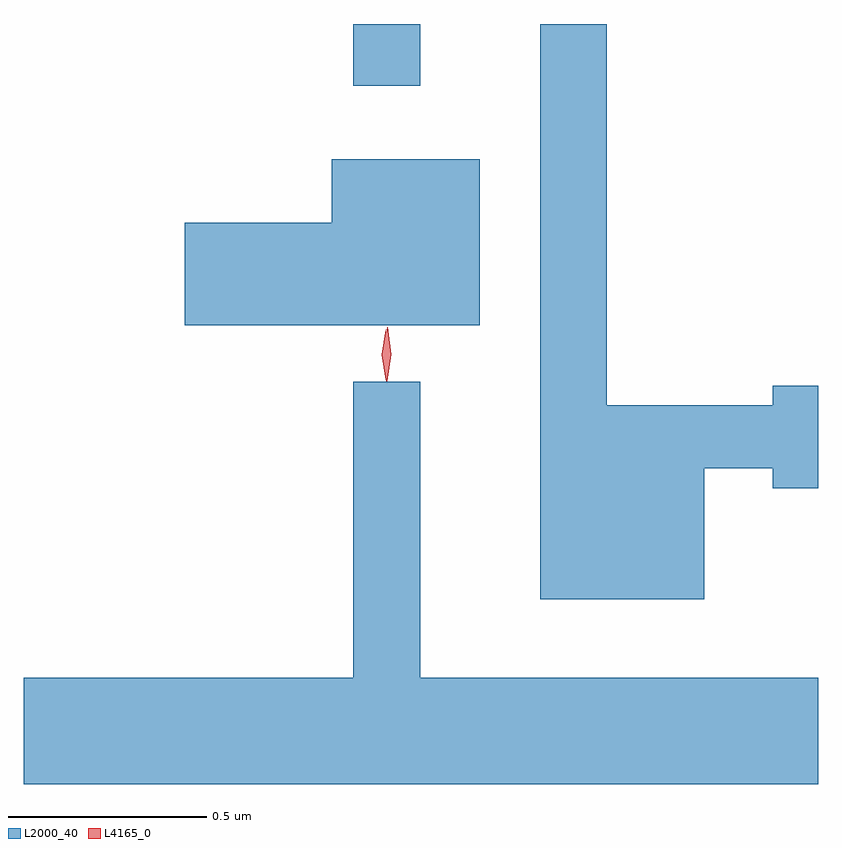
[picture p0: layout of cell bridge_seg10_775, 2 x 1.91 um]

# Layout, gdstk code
import gdstk
lib = gdstk.Library(unit=1e-6, precision=1e-09)
def R(c, l, rs):  # rectangles x0, y0, x1, y1
    for r in rs: c.add(gdstk.rectangle(r[:2], r[2:], *l))
def P(c, l, *ps):  # polygons
    for p in ps: c.add(gdstk.Polygon(p, *l))
L2000_40 = (2000, 40)
L4165_0 = (4165, 0)

bridge_seg10_775 = lib.new_cell('bridge_seg10_775')
R(bridge_seg10_775, L2000_40, [(547.981,2160.073,548.149,2160.229)])
P(bridge_seg10_775, L2000_40, [(548.864,2159.111),(549.036,2159.111),(549.036,2159.061),(549.151,2159.061),(549.151,2159.319),(549.036,2159.319),(549.036,2159.269),(548.619,2159.269),(548.619,2160.229),(548.451,2160.229),(548.451,2158.781),(548.864,2158.781)],
  [(548.299,2159.889),(547.926,2159.889),(547.926,2159.729),(547.556,2159.729),(547.556,2159.471),(548.299,2159.471)],
  [(549.151,2158.584),(548.149,2158.584),(548.149,2159.328),(547.981,2159.328),(547.981,2158.584),(547.151,2158.584),(547.151,2158.316),(549.151,2158.316)])
P(bridge_seg10_775, L4165_0, [(548.064,2159.33),(548.056,2159.398),(548.066,2159.466),(548.066,2159.466),(548.067,2159.466),(548.076,2159.398),(548.066,2159.33),(548.065,2159.33)],
  [(548.062,2159.333),(548.062,2159.334),(548.052,2159.396),(548.062,2159.459),(548.062,2159.46),(548.062,2159.459),(548.072,2159.396),(548.062,2159.334)])

lib.write_gds('bridge_seg10_775.gds')
